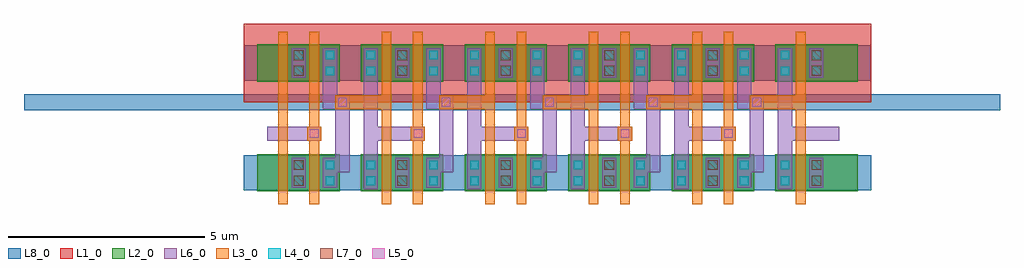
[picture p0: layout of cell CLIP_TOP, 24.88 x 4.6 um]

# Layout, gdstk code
import gdstk
lib = gdstk.Library(unit=1e-6, precision=1e-09)
def R(c, l, rs):  # rectangles x0, y0, x1, y1
    for r in rs: c.add(gdstk.rectangle(r[:2], r[2:], *l))
L1_0 = (1, 0)
L2_0 = (2, 0)
L3_0 = (3, 0)
L4_0 = (4, 0)
L5_0 = (5, 0)
L6_0 = (6, 0)
L7_0 = (7, 0)
L8_0 = (8, 0)

trans_clip_var = lib.new_cell('TRANS$CLIP_VAR')
R(trans_clip_var, L2_0, [(-0.65,-0.475,0.65,0.475)])

trans = lib.new_cell('TRANS')
R(trans, L2_0, [(-0.65,-0.475,0.65,0.475)])

inv2_clip_var = lib.new_cell('INV2$CLIP_VAR')
inv2_clip_var.add(gdstk.Reference(trans_clip_var, (-0.4,0)))
inv2_clip_var.add(gdstk.Reference(trans_clip_var, (-0.4,2.8)))
inv2_clip_var.add(gdstk.Reference(trans, (0.4,0), x_reflection=True))
inv2_clip_var.add(gdstk.Reference(trans, (0.4,2.8), x_reflection=True))

inv2 = lib.new_cell('INV2')
inv2.add(gdstk.Reference(trans, (-0.4,0)))
inv2.add(gdstk.Reference(trans, (-0.4,2.8)))
inv2.add(gdstk.Reference(trans, (0.4,0), x_reflection=True))
inv2.add(gdstk.Reference(trans, (0.4,2.8), x_reflection=True))

trans_clip_var_1 = lib.new_cell('TRANS$CLIP_VAR$1')
R(trans_clip_var_1, L2_0, [(-0.65,-0.475,0.65,0.475)])

trans_clip_var_2 = lib.new_cell('TRANS$CLIP_VAR$2')
R(trans_clip_var_2, L2_0, [(-0.65,-0.475,0.65,0.475)])

inv2_clip_var_1 = lib.new_cell('INV2$CLIP_VAR$1')
inv2_clip_var_1.add(gdstk.Reference(trans_clip_var_1, (-0.4,0)))
inv2_clip_var_1.add(gdstk.Reference(trans_clip_var_1, (-0.4,2.8)))
inv2_clip_var_1.add(gdstk.Reference(trans_clip_var_2, (0.4,0), x_reflection=True))
inv2_clip_var_1.add(gdstk.Reference(trans_clip_var_2, (0.4,2.8), x_reflection=True))

ringo = lib.new_cell('RINGO')
ringo.add(gdstk.Reference(inv2_clip_var, (5.28,0)))
ringo.add(gdstk.Reference(inv2, (7.92,0)))
ringo.add(gdstk.Reference(inv2, (10.56,0)))
ringo.add(gdstk.Reference(inv2, (13.2,0)))
ringo.add(gdstk.Reference(inv2, (15.84,0)))
ringo.add(gdstk.Reference(inv2_clip_var_1, (18.48,0)))

trans_clip_var_3 = lib.new_cell('TRANS$CLIP_VAR$3')
R(trans_clip_var_3, L4_0, [(0.29,-0.31,0.51,-0.09), (0.29,0.09,0.51,0.31)])

trans_1 = lib.new_cell('TRANS$1')
R(trans_1, L4_0, [(-0.51,-0.31,-0.29,-0.09), (0.29,-0.31,0.51,-0.09), (-0.51,0.09,-0.29,0.31), (0.29,0.09,0.51,0.31)])

inv2_clip_var_2 = lib.new_cell('INV2$CLIP_VAR$2')
inv2_clip_var_2.add(gdstk.Reference(trans_clip_var_3, (-0.4,0)))
inv2_clip_var_2.add(gdstk.Reference(trans_clip_var_3, (-0.4,2.8)))
inv2_clip_var_2.add(gdstk.Reference(trans_1, (0.4,0), x_reflection=True))
inv2_clip_var_2.add(gdstk.Reference(trans_1, (0.4,2.8), x_reflection=True))

inv2_1 = lib.new_cell('INV2$1')
inv2_1.add(gdstk.Reference(trans_1, (-0.4,0)))
inv2_1.add(gdstk.Reference(trans_1, (-0.4,2.8)))
inv2_1.add(gdstk.Reference(trans_1, (0.4,0), x_reflection=True))
inv2_1.add(gdstk.Reference(trans_1, (0.4,2.8), x_reflection=True))

trans_clip_var_4 = lib.new_cell('TRANS$CLIP_VAR$4')
R(trans_clip_var_4, L4_0, [(-0.51,-0.31,-0.29,-0.09), (0.29,-0.31,0.51,-0.09), (-0.51,0.09,-0.29,0.31), (0.29,0.09,0.51,0.31)])

trans_clip_var_5 = lib.new_cell('TRANS$CLIP_VAR$5')
R(trans_clip_var_5, L4_0, [(-0.51,-0.31,-0.29,-0.09), (-0.51,0.09,-0.29,0.31)])

inv2_clip_var_3 = lib.new_cell('INV2$CLIP_VAR$3')
inv2_clip_var_3.add(gdstk.Reference(trans_clip_var_4, (-0.4,0)))
inv2_clip_var_3.add(gdstk.Reference(trans_clip_var_4, (-0.4,2.8)))
inv2_clip_var_3.add(gdstk.Reference(trans_clip_var_5, (0.4,0), x_reflection=True))
inv2_clip_var_3.add(gdstk.Reference(trans_clip_var_5, (0.4,2.8), x_reflection=True))

ringo_1 = lib.new_cell('RINGO$1')
ringo_1.add(gdstk.Reference(inv2_clip_var_2, (5.28,0)))
ringo_1.add(gdstk.Reference(inv2_1, (7.92,0)))
ringo_1.add(gdstk.Reference(inv2_1, (10.56,0)))
ringo_1.add(gdstk.Reference(inv2_1, (13.2,0)))
ringo_1.add(gdstk.Reference(inv2_1, (15.84,0)))
ringo_1.add(gdstk.Reference(inv2_clip_var_3, (18.48,0)))

trans_clip_var_6 = lib.new_cell('TRANS$CLIP_VAR$6')
R(trans_clip_var_6, L6_0, [(0.22,-0.38,0.58,0.38)])

trans_2 = lib.new_cell('TRANS$2')
R(trans_2, L6_0, [(-0.58,-0.38,-0.22,0.38), (0.22,-0.38,0.58,0.38)])

inv2_clip_var_4 = lib.new_cell('INV2$CLIP_VAR$4')
R(inv2_clip_var_4, L6_0, [(-0.8,0.82,0.58,1.18)])
inv2_clip_var_4.add(gdstk.FlexPath([(0.8,0.2),(1.12,0.2),(1.12,1.8),(0.8,1.8),(0.8,2.42)], 0.36, ends="flush", simple_path=True, layer=6, datatype=0))  # L6_0
inv2_clip_var_4.add(gdstk.Reference(trans_clip_var_6, (-0.4,0)))
inv2_clip_var_4.add(gdstk.Reference(trans_clip_var_6, (-0.4,2.8)))
inv2_clip_var_4.add(gdstk.Reference(trans_2, (0.4,0), x_reflection=True))
inv2_clip_var_4.add(gdstk.Reference(trans_2, (0.4,2.8), x_reflection=True))

inv2_2 = lib.new_cell('INV2$2')
R(inv2_2, L6_0, [(-0.98,-0.42,-0.62,2.42), (-0.8,0.82,0.58,1.18)])
inv2_2.add(gdstk.FlexPath([(0.8,0.2),(1.12,0.2),(1.12,1.8),(0.8,1.8),(0.8,2.42)], 0.36, ends="flush", simple_path=True, layer=6, datatype=0))  # L6_0
inv2_2.add(gdstk.Reference(trans_2, (-0.4,0)))
inv2_2.add(gdstk.Reference(trans_2, (-0.4,2.8)))
inv2_2.add(gdstk.Reference(trans_2, (0.4,0), x_reflection=True))
inv2_2.add(gdstk.Reference(trans_2, (0.4,2.8), x_reflection=True))

trans_clip_var_7 = lib.new_cell('TRANS$CLIP_VAR$7')
R(trans_clip_var_7, L6_0, [(-0.58,-0.38,-0.22,0.38), (0.22,-0.38,0.58,0.38)])

trans_clip_var_8 = lib.new_cell('TRANS$CLIP_VAR$8')
R(trans_clip_var_8, L6_0, [(-0.58,-0.38,-0.22,0.38)])

inv2_clip_var_5 = lib.new_cell('INV2$CLIP_VAR$5')
R(inv2_clip_var_5, L6_0, [(-0.98,-0.42,-0.62,2.42), (-0.8,0.82,0.58,1.18)])
inv2_clip_var_5.add(gdstk.Reference(trans_clip_var_7, (-0.4,0)))
inv2_clip_var_5.add(gdstk.Reference(trans_clip_var_7, (-0.4,2.8)))
inv2_clip_var_5.add(gdstk.Reference(trans_clip_var_8, (0.4,0), x_reflection=True))
inv2_clip_var_5.add(gdstk.Reference(trans_clip_var_8, (0.4,2.8), x_reflection=True))

ringo_2 = lib.new_cell('RINGO$2')
ringo_2.add(gdstk.Reference(inv2_clip_var_4, (5.28,0)))
ringo_2.add(gdstk.Reference(inv2_2, (7.92,0)))
ringo_2.add(gdstk.Reference(inv2_2, (10.56,0)))
ringo_2.add(gdstk.Reference(inv2_2, (13.2,0)))
ringo_2.add(gdstk.Reference(inv2_2, (15.84,0)))
ringo_2.add(gdstk.Reference(inv2_clip_var_5, (18.48,0)))

trans_clip_var_9 = lib.new_cell('TRANS$CLIP_VAR$9')
trans_clip_var_9.add(gdstk.FlexPath([(0,-0.8),(0,0.8)], 0.25, ends="flush", simple_path=True, layer=3, datatype=0))  # L3_0

trans_3 = lib.new_cell('TRANS$3')
trans_3.add(gdstk.FlexPath([(0,-0.8),(0,0.8)], 0.25, ends="flush", simple_path=True, layer=3, datatype=0))  # L3_0

inv2_clip_var_6 = lib.new_cell('INV2$CLIP_VAR$6')
R(inv2_clip_var_6, L3_0, [(-0.525,-0.25,-0.275,2.25), (0.275,-0.25,0.525,2.25), (0.22,0.82,0.58,1.18)])
inv2_clip_var_6.add(gdstk.Reference(trans_clip_var_9, (-0.4,0)))
inv2_clip_var_6.add(gdstk.Reference(trans_clip_var_9, (-0.4,2.8)))
inv2_clip_var_6.add(gdstk.Reference(trans_3, (0.4,0), x_reflection=True))
inv2_clip_var_6.add(gdstk.Reference(trans_3, (0.4,2.8), x_reflection=True))

inv2_3 = lib.new_cell('INV2$3')
R(inv2_3, L3_0, [(-0.525,-0.25,-0.275,2.25), (0.275,-0.25,0.525,2.25), (0.22,0.82,0.58,1.18), (-1.7,1.62,-0.4,1.98)])
inv2_3.add(gdstk.Reference(trans_3, (-0.4,0)))
inv2_3.add(gdstk.Reference(trans_3, (-0.4,2.8)))
inv2_3.add(gdstk.Reference(trans_3, (0.4,0), x_reflection=True))
inv2_3.add(gdstk.Reference(trans_3, (0.4,2.8), x_reflection=True))

inv2_clip_var_7 = lib.new_cell('INV2$CLIP_VAR$7')
R(inv2_clip_var_7, L3_0, [(-0.525,-0.25,-0.275,2.25), (-1.7,1.62,-0.4,1.98)])
inv2_clip_var_7.add(gdstk.Reference(trans_3, (-0.4,0)))
inv2_clip_var_7.add(gdstk.Reference(trans_3, (-0.4,2.8)))

ringo_3 = lib.new_cell('RINGO$3')
ringo_3.add(gdstk.Reference(inv2_clip_var_6, (5.28,0)))
ringo_3.add(gdstk.Reference(inv2_3, (7.92,0)))
ringo_3.add(gdstk.Reference(inv2_3, (10.56,0)))
ringo_3.add(gdstk.Reference(inv2_3, (13.2,0)))
ringo_3.add(gdstk.Reference(inv2_3, (15.84,0)))
ringo_3.add(gdstk.Reference(inv2_clip_var_7, (18.48,0)))

inv2_clip_var_8 = lib.new_cell('INV2$CLIP_VAR$8')
R(inv2_clip_var_8, L8_0, [(-1.4,-0.45,1.4,0.45), (-1.4,2.35,1.4,3.25)])

inv2_4 = lib.new_cell('INV2$4')
R(inv2_4, L8_0, [(-1.4,-0.45,1.4,0.45), (-1.4,2.35,1.4,3.25)])

inv2_clip_var_9 = lib.new_cell('INV2$CLIP_VAR$9')
R(inv2_clip_var_9, L8_0, [(-1.4,-0.45,1.4,0.45), (-1.4,2.35,1.4,3.25)])

ringo_4 = lib.new_cell('RINGO$4')
R(ringo_4, L8_0, [(-1.72,1.6,23.16,2)])
ringo_4.add(gdstk.Reference(inv2_clip_var_8, (5.28,0)))
ringo_4.add(gdstk.Reference(inv2_4, (7.92,0)))
ringo_4.add(gdstk.Reference(inv2_4, (10.56,0)))
ringo_4.add(gdstk.Reference(inv2_4, (13.2,0)))
ringo_4.add(gdstk.Reference(inv2_4, (15.84,0)))
ringo_4.add(gdstk.Reference(inv2_clip_var_9, (18.48,0)))

inv2_clip_var_10 = lib.new_cell('INV2$CLIP_VAR$10')
R(inv2_clip_var_10, L1_0, [(-1.4,1.8,1.4,3.8)])

inv2_5 = lib.new_cell('INV2$5')
R(inv2_5, L1_0, [(-1.4,1.8,1.4,3.8)])

inv2_clip_var_11 = lib.new_cell('INV2$CLIP_VAR$11')
R(inv2_clip_var_11, L1_0, [(-1.4,1.8,1.4,3.8)])

ringo_5 = lib.new_cell('RINGO$5')
ringo_5.add(gdstk.Reference(inv2_clip_var_10, (5.28,0)))
ringo_5.add(gdstk.Reference(inv2_5, (7.92,0)))
ringo_5.add(gdstk.Reference(inv2_5, (10.56,0)))
ringo_5.add(gdstk.Reference(inv2_5, (13.2,0)))
ringo_5.add(gdstk.Reference(inv2_5, (15.84,0)))
ringo_5.add(gdstk.Reference(inv2_clip_var_11, (18.48,0)))

inv2_clip_var_12 = lib.new_cell('INV2$CLIP_VAR$12')
R(inv2_clip_var_12, L5_0, [(0.29,0.89,0.51,1.11)])

inv2_6 = lib.new_cell('INV2$6')
R(inv2_6, L5_0, [(0.29,0.89,0.51,1.11), (-1.63,1.69,-1.41,1.91)])

inv2_clip_var_13 = lib.new_cell('INV2$CLIP_VAR$13')
R(inv2_clip_var_13, L5_0, [(-1.63,1.69,-1.41,1.91)])

ringo_6 = lib.new_cell('RINGO$6')
ringo_6.add(gdstk.Reference(inv2_clip_var_12, (5.28,0)))
ringo_6.add(gdstk.Reference(inv2_6, (7.92,0)))
ringo_6.add(gdstk.Reference(inv2_6, (10.56,0)))
ringo_6.add(gdstk.Reference(inv2_6, (13.2,0)))
ringo_6.add(gdstk.Reference(inv2_6, (15.84,0)))
ringo_6.add(gdstk.Reference(inv2_clip_var_13, (18.48,0)))

inv2_7 = lib.new_cell('INV2$7')
R(inv2_7, L7_0, [(-0.125,-0.325,0.125,-0.075), (-0.125,0.075,0.125,0.325), (-0.125,2.475,0.125,2.725), (-0.125,2.875,0.125,3.125)])

inv2_clip_var_14 = lib.new_cell('INV2$CLIP_VAR$14')
R(inv2_clip_var_14, L7_0, [(-0.125,-0.325,0.125,-0.075), (-0.125,0.075,0.125,0.325), (-0.125,2.475,0.125,2.725), (-0.125,2.875,0.125,3.125)])

ringo_7 = lib.new_cell('RINGO$7')
ringo_7.add(gdstk.Reference(inv2_7, (5.28,0)))
ringo_7.add(gdstk.Reference(inv2_7, (7.92,0)))
ringo_7.add(gdstk.Reference(inv2_7, (10.56,0)))
ringo_7.add(gdstk.Reference(inv2_7, (13.2,0)))
ringo_7.add(gdstk.Reference(inv2_7, (15.84,0)))
ringo_7.add(gdstk.Reference(inv2_clip_var_14, (18.48,0)))

inv2_8 = lib.new_cell('INV2$8')
inv2_8.add(gdstk.Label('IN', (-0.8,1.8), layer=3, texttype=1))

ringo_8 = lib.new_cell('RINGO$8')
ringo_8.add(gdstk.Reference(inv2_8, (7.92,0)))
ringo_8.add(gdstk.Reference(inv2_8, (10.56,0)))
ringo_8.add(gdstk.Reference(inv2_8, (13.2,0)))
ringo_8.add(gdstk.Reference(inv2_8, (15.84,0)))
ringo_8.add(gdstk.Reference(inv2_8, (18.48,0)))

inv2_9 = lib.new_cell('INV2$9')
inv2_9.add(gdstk.Label('OUT', (0.8,1.8), layer=6, texttype=1))

ringo_9 = lib.new_cell('RINGO$9')
ringo_9.add(gdstk.Reference(inv2_9, (5.28,0)))
ringo_9.add(gdstk.Reference(inv2_9, (7.92,0)))
ringo_9.add(gdstk.Reference(inv2_9, (10.56,0)))
ringo_9.add(gdstk.Reference(inv2_9, (13.2,0)))
ringo_9.add(gdstk.Reference(inv2_9, (15.84,0)))

ringo_10 = lib.new_cell('RINGO$10')

clip_top = lib.new_cell('CLIP_TOP')
clip_top.add(gdstk.Reference(ringo, (0,0)))
clip_top.add(gdstk.Reference(ringo_1, (0,0)))
clip_top.add(gdstk.Reference(ringo_2, (0,0)))
clip_top.add(gdstk.Reference(ringo_3, (0,0)))
clip_top.add(gdstk.Reference(ringo_4, (0,0)))
clip_top.add(gdstk.Reference(ringo_5, (0,0)))
clip_top.add(gdstk.Reference(ringo_6, (0,0)))
clip_top.add(gdstk.Reference(ringo_7, (0,0)))
clip_top.add(gdstk.Reference(ringo_8, (0,0)))
clip_top.add(gdstk.Reference(ringo_9, (0,0)))
clip_top.add(gdstk.Reference(ringo_10, (0,0)))

lib.write_gds('CLIP_TOP.gds')
